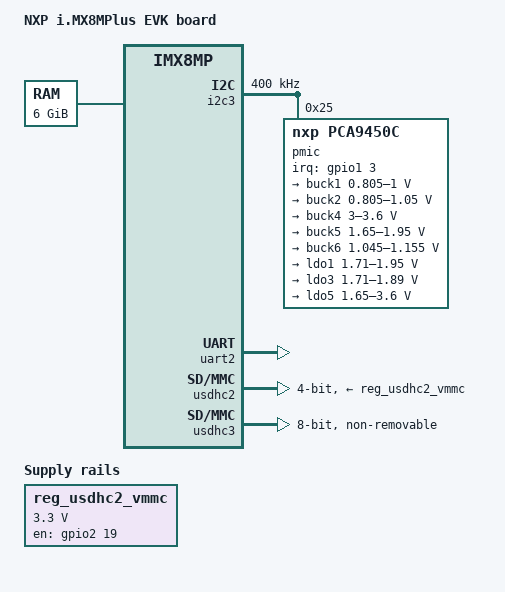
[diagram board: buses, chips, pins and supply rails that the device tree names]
/dts-v1/;

#include <dt-bindings/phy/phy-imx8-pcie.h>
#include <dt-bindings/usb/pd.h>
#include "imx8mp.dtsi"

&iomuxc {
	pinctrl_i2c3: i2c3grp {
		fsl,pins = <
			MX8MP_IOMUXC_I2C3_SCL__I2C3_SCL		0x400001c2
			MX8MP_IOMUXC_I2C3_SDA__I2C3_SDA		0x400001c2
		>;
	};
	pinctrl_pmic: pmicgrp {
		fsl,pins = <
			MX8MP_IOMUXC_GPIO1_IO03__GPIO1_IO03	0x000001c0
		>;
	};
	pinctrl_uart2: uart2grp {
		fsl,pins = <
			MX8MP_IOMUXC_SD1_DATA2__UART2_DTE_RX	0x140
			MX8MP_IOMUXC_SD1_DATA3__UART2_DTE_TX	0x140
		>;
	};
	pinctrl_usdhc2: usdhc2grp {
		fsl,pins = <
			MX8MP_IOMUXC_SD2_CLK__USDHC2_CLK	0x190
			MX8MP_IOMUXC_SD2_CMD__USDHC2_CMD	0x1d0
			MX8MP_IOMUXC_SD2_DATA0__USDHC2_DATA0	0x1d0
			MX8MP_IOMUXC_SD2_DATA1__USDHC2_DATA1	0x1d0
			MX8MP_IOMUXC_SD2_DATA2__USDHC2_DATA2	0x1d0
			MX8MP_IOMUXC_SD2_DATA3__USDHC2_DATA3	0x1d0
			MX8MP_IOMUXC_GPIO1_IO04__USDHC2_VSELECT	0xc0
            MX8MP_IOMUXC_SD2_CD_B__USDHC2_CD_B      0x1c4
		>;
	};
	pinctrl_usdhc3: usdhc3grp {
		fsl,pins = <
			MX8MP_IOMUXC_NAND_WE_B__USDHC3_CLK	0x190
			MX8MP_IOMUXC_NAND_WP_B__USDHC3_CMD	0x1d0
			MX8MP_IOMUXC_NAND_DATA04__USDHC3_DATA0	0x1d0
			MX8MP_IOMUXC_NAND_DATA05__USDHC3_DATA1	0x1d0
			MX8MP_IOMUXC_NAND_DATA06__USDHC3_DATA2	0x1d0
			MX8MP_IOMUXC_NAND_DATA07__USDHC3_DATA3	0x1d0
			MX8MP_IOMUXC_NAND_RE_B__USDHC3_DATA4	0x1d0
			MX8MP_IOMUXC_NAND_CE2_B__USDHC3_DATA5	0x1d0
			MX8MP_IOMUXC_NAND_CE3_B__USDHC3_DATA6	0x1d0
			MX8MP_IOMUXC_NAND_CLE__USDHC3_DATA7	0x1d0
			MX8MP_IOMUXC_NAND_CE1_B__USDHC3_STROBE	0x190
		>;
	};
};

/ {
	model = "NXP i.MX8MPlus EVK board";
	compatible = "fsl,imx8mp-evk", "fsl,imx8mp";

	chosen {
		stdout-path = &uart2;
	};

	memory@40000000 {
		device_type = "memory";
		reg = <0x0 0x40000000 0 0xc0000000>,
		      <0x1 0x00000000 0 0xc0000000>;
	};

	reg_usdhc2_vmmc: regulator-usdhc2 {
		compatible = "regulator-fixed";
		pinctrl-names = "default";
		regulator-name = "VSD_3V3";
		regulator-min-microvolt = <3300000>;
		regulator-max-microvolt = <3300000>;
		gpio = <&gpio2 19 GPIO_ACTIVE_HIGH>;
		enable-active-high;
	};
};

&i2c3 {
  clock-frequency = <400000>;
  pinctrl-names = "default";
  pinctrl-0 = <&pinctrl_i2c3>;
  status = "okay";

  // TODO: Check voltage values
  pmic@25 {
    compatible = "nxp,pca9450c";
    reg = <0x25>;
    pinctrl-names = "default";
    pinctrl-0 = <&pinctrl_pmic>;
    interrupt-parent = <&gpio1>;
    interrupts = <3 IRQ_TYPE_LEVEL_LOW>;

    regulators {
      buck1: BUCK1 {
        regulator-name = "BUCK1";
        regulator-min-microvolt = <805000>;
        regulator-max-microvolt = <1000000>;
        regulator-boot-on;
        regulator-always-on;
        regulator-ramp-delay = <3125>;
      };

      buck2: BUCK2 {
        regulator-name = "BUCK2";
        regulator-min-microvolt = <805000>;
        regulator-max-microvolt = <1050000>;
        regulator-boot-on;
        regulator-always-on;
        regulator-ramp-delay = <3125>;
        nxp,dvs-run-voltage = <1000000>;
        nxp,dvs-standby-voltage = <950000>;
      };

      buck4: BUCK4{
        regulator-name = "BUCK4";
        regulator-min-microvolt = <3000000>;
        regulator-max-microvolt = <3600000>;
        regulator-boot-on;
        regulator-always-on;
      };

      buck5: BUCK5{
        regulator-name = "BUCK5";
        regulator-min-microvolt = <1650000>;
        regulator-max-microvolt = <1950000>;
        regulator-boot-on;
        regulator-always-on;
      };

      buck6: BUCK6 {
        regulator-name = "BUCK6";
        regulator-min-microvolt = <1045000>;
        regulator-max-microvolt = <1155000>;
        regulator-boot-on;
        regulator-always-on;
      };

      ldo1: LDO1 {
        regulator-name = "LDO1";
        regulator-min-microvolt = <1710000>;
        regulator-max-microvolt = <1950000>;
        regulator-boot-on;
        regulator-always-on;
      };

      ldo3: LDO3 {
        regulator-name = "LDO3";
        regulator-min-microvolt = <1710000>;
        regulator-max-microvolt = <1890000>;
        regulator-boot-on;
        regulator-always-on;
      };

      ldo5: LDO5 {
        regulator-name = "LDO5";
        regulator-min-microvolt = <1650000>;
        regulator-max-microvolt = <3600000>;
        regulator-boot-on;
        regulator-always-on;
      };
    };
  };
};

&uart2 {
	/* console */
	pinctrl-names = "default";
	pinctrl-0 = <&pinctrl_uart2>;
	status = "okay";
};

&usdhc2 {
  assigned-clocks = <&clk IMX8MP_CLK_USDHC2>;
  assigned-clock-rates = <400000000>;
  pinctrl-names = "default";
	pinctrl-0 = <&pinctrl_usdhc2>;
  vmmc-supply = <&reg_usdhc2_vmmc>;
  bus-width = <4>;
  status = "okay";
};

&usdhc3 {
  assigned-clocks = <&clk IMX8MP_CLK_USDHC3>;
  assigned-clock-rates = <400000000>;
  pinctrl-names = "default";
  pinctrl-0 = <&pinctrl_usdhc3>;
  bus-width = <8>;
  non-removable;
  status = "okay";
};
